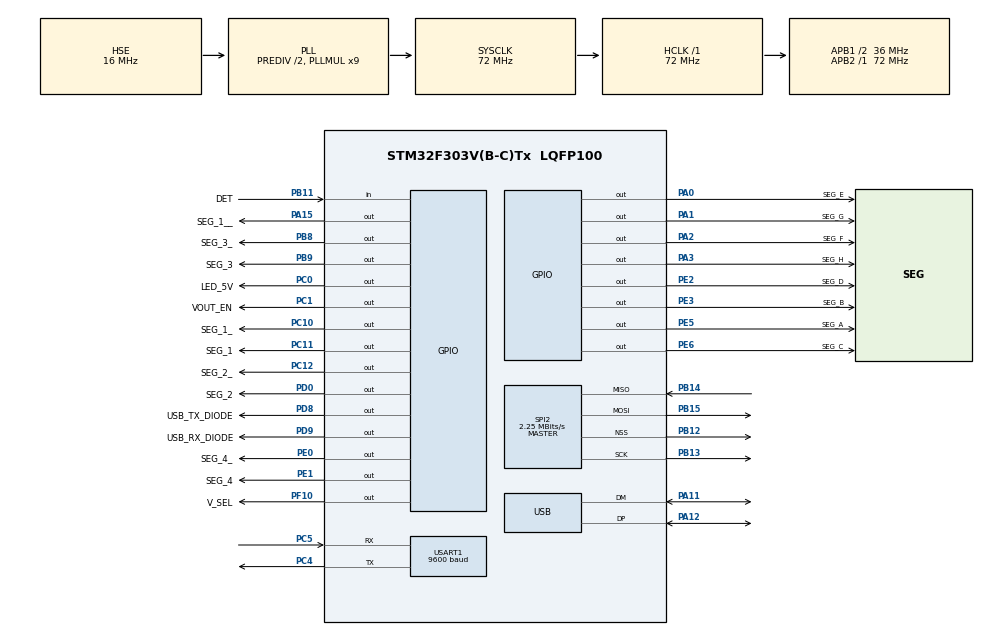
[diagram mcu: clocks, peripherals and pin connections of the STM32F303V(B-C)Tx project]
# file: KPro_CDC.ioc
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Mcu.Family=STM32F3
USB_DEVICE.CLASS_NAME_FS=CDC
SPI2.VirtualNSS=VM_NSSHARD
RCC.CortexFreq_Value=72000000
VP_TIM17_VS_ClockSourceINT.Mode=Enable_Timer
FATFS._USE_LFN=1
NVIC.DMA1_Channel5_IRQn=true\:0\:0\:false\:false\:true\:false\:true
SPI2.VirtualType=VM_MASTER
USART1.BaudRate=9600
PC10.Signal=GPIO_Output
PC12.Signal=GPIO_Output
RCC.SYSCLKSourceVirtual=RCC_SYSCLKSOURCE_PLLCLK
PA0.GPIO_Label=SEG_E
PC0.GPIO_Label=LED_5V
PD0.GPIO_Label=SEG_2
PA11.Mode=Device
PC5.Mode=Asynchronous
PB11.Signal=GPIO_Input
PB13.Signal=SPI2_SCK
PB15.Signal=SPI2_MOSI
PE6.GPIO_Label=SEG_C
ProjectManager.StackSize=0x400
PA15.GPIO_Label=SEG_1__
Dma.USART1_TX.0.Priority=DMA_PRIORITY_LOW
PA12.Signal=USB_DP
Dma.USART1_TX.0.Direction=DMA_MEMORY_TO_PERIPH
RCC.HCLKFreq_Value=72000000
RCC.APB2TimFreq_Value=72000000
PD0.Signal=GPIO_Output
PD8.Signal=GPIO_Output
PE5.Signal=GPIO_Output
PE1.Signal=GPIO_Output
Dma.USART1_RX.1.MemInc=DMA_MINC_ENABLE
PF10.GPIO_Label=V_SEL
RCC.AHBFreq_Value=72000000
SPI2.BaudRatePrescaler=SPI_BAUDRATEPRESCALER_16
RCC.HSE_VALUE=16000000
Dma.USART1_RX.1.PeriphDataAlignment=DMA_PDATAALIGN_BYTE
RCC.RCC_PLLsource_Clock_Source_FROM_HSE=RCC_HSE_PREDIV_DIV2
RCC.PLLMUL=RCC_PLL_MUL9
NVIC.TIM1_TRG_COM_TIM17_IRQn=true\:0\:0\:false\:false\:true\:true\:true
PA14.Mode=Serial_Wire
PB14.Mode=Full_Duplex_Master
PC11.GPIO_Label=SEG_1
SPI2.CalculateBaudRate=2.25 MBits/s
PE2.Signal=GPIO_Output
Dma.USART1_TX.0.PeriphDataAlignment=DMA_PDATAALIGN_BYTE
PA0.Signal=GPIO_Output
Dma.USART1_RX.1.Mode=DMA_NORMAL
Mcu.Package=LQFP100
PB9.Signal=GPIO_Output
PB12.Mode=NSS_Signal_Hard_Output
SPI2.Mode=SPI_MODE_MASTER
PA2.GPIO_Label=SEG_F
PA15.Signal=GPIO_Output
Dma.USART1_TX.0.Instance=DMA1_Channel4
PE0.GPIO_Label=SEG_4_
Dma.USART1_RX.1.PeriphInc=DMA_PINC_DISABLE
Dma.Request1=USART1_RX
RCC.APB1TimFreq_Value=72000000
SPI2.Direction=SPI_DIRECTION_2LINES
PC5.Signal=USART1_RX
PB13.Mode=Full_Duplex_Master
Dma.USART1_RX.1.Priority=DMA_PRIORITY_LOW
NVIC.DMA1_Channel4_IRQn=true\:0\:0\:false\:false\:true\:false\:true
NVIC.USART1_IRQn=true\:0\:0\:false\:false\:true\:true\:true
Dma.Request0=USART1_TX
PE2.GPIO_Label=SEG_D
PC4.Mode=Asynchronous
PA3.Signal=GPIO_Output
Dma.USART1_RX.1.Instance=DMA1_Channel5
Dma.USART1_RX.1.MemDataAlignment=DMA_MDATAALIGN_BYTE
Dma.USART1_TX.0.MemInc=DMA_MINC_ENABLE
PD9.GPIO_Label=USB_RX_DIODE
PB9.GPIO_Label=SEG_3
Dma.USART1_TX.0.PeriphInc=DMA_PINC_DISABLE
PC10.GPIO_Label=SEG_1_
USB_DEVICE.VirtualModeFS=Cdc_FS
PC11.Signal=GPIO_Output
NVIC.USB_LP_CAN_RX0_IRQn=true\:0\:0\:false\:false\:true\:false\:true
PC4.Signal=USART1_TX
PB11.GPIO_Label=DET
PD9.Signal=GPIO_Output
PC0.Signal=GPIO_Output
RCC.APB1CLKDivider=RCC_HCLK_DIV2
PD8.GPIO_Label=USB_TX_DIODE
USART1.VirtualMode-Asynchronous=VM_ASYNC
PA13.Signal=SYS_JTMS-SWDIO
PB8.GPIO_Label=SEG_3_
ProjectManager.TargetToolchain=STM32CubeIDE
VP_USB_DEVICE_VS_USB_DEVICE_CDC_FS.Mode=CDC_FS
RCC.USBFreq_Value=48000000
RCC.LSE_VALUE=32768
PA1.Signal=GPIO_Output
PF0-OSC_IN.Mode=HSE-External-Clock-Source
VP_FATFS_VS_Generic.Mode=User_defined
PB14.Signal=SPI2_MISO
Dma.USART1_TX.0.Mode=DMA_NORMAL
board=custom
PE1.GPIO_Label=SEG_4
PB15.Mode=Full_Duplex_Master
RCC.APB2Freq_Value=72000000
RCC.PRESCALERUSB=RCC_USBCLKSOURCE_PLL_DIV1_5
PF10.Signal=GPIO_Output
PC1.GPIO_Label=VOUT_EN
PA1.GPIO_Label=SEG_G
PE6.Signal=GPIO_Output
PA13.Mode=Serial_Wire
PE0.Signal=GPIO_Output
Mcu.Name=STM32F303V(B-C)Tx
PA2.Signal=GPIO_Output
FATFS._MAX_SS=4096
RCC.SYSCLKFreq_VALUE=72000000
PA12.Mode=Device
PE5.GPIO_Label=SEG_A
PC12.GPIO_Label=SEG_2_
PA11.Signal=USB_DM
Dma.USART1_TX.0.MemDataAlignment=DMA_MDATAALIGN_BYTE
PA14.Signal=SYS_JTCK-SWCLK
ProjectManager.HeapSize=0x200
RCC.HSI_VALUE=8000000
NVIC.PriorityGroup=NVIC_PRIORITYGROUP_4
PE3.Signal=GPIO_Output
PB8.Signal=GPIO_Output
PE3.GPIO_Label=SEG_B
SPI2.DataSize=SPI_DATASIZE_8BIT
Dma.USART1_RX.1.Direction=DMA_PERIPH_TO_MEMORY
PF0-OSC_IN.Signal=RCC_OSC_IN
RCC.APB1Freq_Value=36000000
USB_DEVICE.VirtualMode=Cdc
PC1.Signal=GPIO_Output
PB12.Signal=SPI2_NSS
PA3.GPIO_Label=SEG_H

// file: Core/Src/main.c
/* USER CODE BEGIN Header */
/**
  ******************************************************************************
  * @file           : main.c
  * @brief          : Main program body
  ******************************************************************************
  * @attention
  *
  * <h2><center>&copy; Copyright (c) 2021 STMicroelectronics.
  * All rights reserved.</center></h2>
  *
  * This software component is licensed by ST under Ultimate Liberty license
  * SLA0044, the "License"; You may not use this file except in compliance with
  * the License. You may obtain a copy of the License at:
  *                             www.st.com/SLA0044
  *
  ******************************************************************************
  */
/* USER CODE END Header */
#include "main.h"
#include "fatfs.h"
#include "usb_device.h"

/* USER CODE BEGIN Includes */
#include "uart.h"
#include "clock.h"
#include "gpio.h"
#include "dma.h"
#include "tim.h"
//#include "stm32f3xx_it.h"
//#include "UART_DMA.h"
/* USER CODE END Includes */

/* USER CODE BEGIN PTD */
#define SEG_A	1
#define SEG_B	2
#define SEG_C	4
#define SEG_D	8
#define SEG_E	16
#define SEG_F	32
#define SEG_G	64
#define SEG_H	128
/* USER CODE END PTD */

SPI_HandleTypeDef hspi2;

TIM_HandleTypeDef htim17;

UART_HandleTypeDef huart1;
DMA_HandleTypeDef hdma_usart1_tx;
DMA_HandleTypeDef hdma_usart1_rx;

/* USER CODE BEGIN PV */
char UART_Received[1];
uint8_t UART_RecFlag = 0;
char msg[3] = {'X','D','D'};

void my_USART1_IRQHandler(){
	//uint32_t isr = USART1->ISR;
	//uint32_t cr1 = USART1->CR1;
	if (USART1->ISR & USART_ISR_RXNE_Msk){
		UART_RecFlag = 1;
		UART_Received[0] = USART1->RDR;
		NVIC_ClearPendingIRQ(USART1_IRQn);
	}
	NVIC_ClearPendingIRQ(USART1_IRQn);
}

void my_DMA1_Channel4_IRQHandler(){
	if (DMA1->ISR & DMA_ISR_TCIF4){
		DMA1->IFCR |= (DMA_IFCR_CTCIF4);
	}
	// Disable DMA channel
	DMA1_Channel4->CCR &= ~(DMA_CCR_EN);
	NVIC_ClearPendingIRQ(DMA1_Channel4_IRQn);
}

uint8_t SegSel = 0;
uint8_t Seg[4] = {0,0,0,0};
void my_TIM1_TRG_COM_TIM17_IRQHandler(){
	if (TIM17->SR & TIM_SR_UIF){
		TIM17->SR &= ~(TIM_SR_UIF);
		//HAL_GPIO_TogglePin(LED_5V_GPIO_Port, LED_5V_Pin);
		DispNum(Seg[SegSel],SegSel);
		++SegSel;
		if(SegSel > 3) SegSel = 0;
	}
	NVIC_ClearPendingIRQ(TIM17_IRQn);
}

void DispVal(uint32_t val){
	if (val < 10000){
		Seg[3] = val % 10;
		val = val / 10;
		Seg[2] = val % 10;
		val = val / 10;
		Seg[1] = val % 10;
		val = val / 10;
		Seg[0] = val % 10 + 10;
	} else if (val < 100000){
		val = val / 10;
		Seg[3] = val % 10;
		val = val / 10;
		Seg[2] = val % 10;
		val = val / 10;
		Seg[1] = val % 10 + 10;
		val = val / 10;
		Seg[0] = val % 10;
	} else if (val < 1000000){
		val = val / 100;
		Seg[3] = val % 10;
		val = val / 10;
		Seg[2] = val % 10 + 10;
		val = val / 10;
		Seg[1] = val % 10;
		val = val / 10;
		Seg[0] = val % 10;
	} else if (val < 10000000){
		val = val / 1000;
		Seg[3] = val % 10 + 10;
		val = val / 10;
		Seg[2] = val % 10;
		val = val / 10;
		Seg[1] = val % 10;
		val = val / 10;
		Seg[0] = val % 10;
	}
}

void DispNum(uint8_t num, uint8_t disp){
	uint8_t IsDot = 0;
	HAL_GPIO_WritePin(SEG_1_GPIO_Port, SEG_1_Pin, 0);
	HAL_GPIO_WritePin(SEG_1__GPIO_Port, SEG_1__Pin, 0);
	HAL_GPIO_WritePin(SEG_1__GPIO_Port, SEG_1___Pin, 0);

	HAL_GPIO_WritePin(SEG_2_GPIO_Port, SEG_2_Pin, 0);
	HAL_GPIO_WritePin(SEG_2__GPIO_Port, SEG_2__Pin, 0);

	HAL_GPIO_WritePin(SEG_3_GPIO_Port, SEG_3_Pin, 0);
	HAL_GPIO_WritePin(SEG_3__GPIO_Port, SEG_3__Pin, 0);

	HAL_GPIO_WritePin(SEG_4_GPIO_Port, SEG_4_Pin, 0);
	HAL_GPIO_WritePin(SEG_4__GPIO_Port, SEG_4__Pin, 0);

	if(num > 9){
		num -= 10;
		IsDot = 1;
	}

	switch(disp){
	case 0:{
		HAL_GPIO_WritePin(SEG_1_GPIO_Port, SEG_1_Pin, 1);
		HAL_GPIO_WritePin(SEG_1__GPIO_Port, SEG_1__Pin, 1);
		HAL_GPIO_WritePin(SEG_1___GPIO_Port, SEG_1___Pin, 1);
		break;
	}
	case 1:{
		HAL_GPIO_WritePin(SEG_2_GPIO_Port, SEG_2_Pin, 1);
		HAL_GPIO_WritePin(SEG_2__GPIO_Port, SEG_2__Pin, 1);
		break;
	}
	case 2:{
		HAL_GPIO_WritePin(SEG_3_GPIO_Port, SEG_3_Pin, 1);
		HAL_GPIO_WritePin(SEG_3__GPIO_Port, SEG_3__Pin, 1);
		break;
	}
	case 3:{
		HAL_GPIO_WritePin(SEG_4_GPIO_Port, SEG_4_Pin, 1);
		HAL_GPIO_WritePin(SEG_4__GPIO_Port, SEG_4__Pin, 1);
		break;
	}
	}

	switch(num){
	case 0:{
		SetDisp((uint8_t)SEG_D | SEG_E);
		break;
	}
	case 1:{
		SetDisp((uint8_t)SEG_A | SEG_B | SEG_D | SEG_H | SEG_F | SEG_E);
		break;
	}
	case 2:{
		SetDisp((uint8_t)SEG_B | SEG_E | SEG_G);
		break;
	}
	case 3:{
		SetDisp((uint8_t)SEG_B | SEG_H | SEG_E);
		break;
	}
	case 4:{
		SetDisp((uint8_t)SEG_A | SEG_H | SEG_F | SEG_E);
		break;
	}
	case 5:{
		SetDisp((uint8_t)SEG_C | SEG_H | SEG_E);
		break;
	}
	case 6:{
		SetDisp((uint8_t)SEG_C | SEG_E);
		break;
	}
	case 7:{
		SetDisp((uint8_t)SEG_B | SEG_D | SEG_H | SEG_F | SEG_E);
		break;
	}
	case 8:{
		SetDisp((uint8_t) SEG_E);
		break;
	}
	case 9:{
		SetDisp((uint8_t)SEG_H | SEG_E);
		break;
	}
	case 10:{
		SetDisp((uint8_t)0);
		break;
	}
	}
	if(IsDot) HAL_GPIO_WritePin(SEG_E_GPIO_Port, SEG_E_Pin, 0);
}

void SetDisp(uint8_t seg){
	HAL_GPIO_WritePin(SEG_A_GPIO_Port, SEG_A_Pin, (seg & (1 << 0)));
	HAL_GPIO_WritePin(SEG_B_GPIO_Port, SEG_B_Pin, (seg & (1 << 1)));
	HAL_GPIO_WritePin(SEG_C_GPIO_Port, SEG_C_Pin, (seg & (1 << 2)));
	HAL_GPIO_WritePin(SEG_D_GPIO_Port, SEG_D_Pin, (seg & (1 << 3)));
	HAL_GPIO_WritePin(SEG_E_GPIO_Port, SEG_E_Pin, (seg & (1 << 4)));
	HAL_GPIO_WritePin(SEG_F_GPIO_Port, SEG_F_Pin, (seg & (1 << 5)));
	HAL_GPIO_WritePin(SEG_G_GPIO_Port, SEG_G_Pin, (seg & (1 << 6)));
	HAL_GPIO_WritePin(SEG_H_GPIO_Port, SEG_H_Pin, (seg & (1 << 7)));
}
//UARTDMA_HandleTypeDef huartdma;
char ParseBuffer[8];
/* USER CODE END PV */

void SystemClock_Config(void);
static void MX_GPIO_Init(void);
static void MX_DMA_Init(void);
static void MX_SPI2_Init(void);
static void MX_USART1_UART_Init(void);
static void MX_TIM17_Init(void);

int main(void)
{

  /* MCU Configuration--------------------------------------------------------*/

  /* Reset of all peripherals, Initializes the Flash interface and the Systick. */
  HAL_Init();

  /* USER CODE BEGIN Init */

  	// CONFIGURE CLOCK
	FLASH_ACR_clock_init();
	RCC_HSE_enable();
	RCC_CFGR_pll_init();
	RCC_APB1ENR_enable();
	RCC_APB1ENR_usb_clock_enable();

	// HALL INITALIZERS
		MX_GPIO_Init();
		MX_USB_DEVICE_Init();

	// USART INITALIZATION
	RCC_APB2ENR_usart_clock_enable();
	RCC_AHBENR_port_enable('C');
	GPIOC_MODER_pc4_pc5_uart_init();
	USART1_CR1_disable_parity();
	USART1_CR1_world_8b();
	USART1_CR1_oversampling_16();
	USART1_BBR_set_baundrate(72000000, 9600);
	USART1_CR2_stop_1bit();
	USART1_CR1_enable_RXNEIE();
	USART1_CR1_enable_receiver();
	USART1_CR3_enable_dma();
	USART1_CR1_enable_transmitter();
	USART1_CR1_enable();
	USART1_ICR_clear_tansfer_completec_flag();

	// DMA FOR USART INITRALIZATION
	RCC_AHBENR_dma_clock_enable();
	DMA1_Channel4_CCR_uart_init();
	DMA1_Channel4_CPAR_set_tdr_buffer();

	NVIC_SetPriority(USART1_IRQn, 6);
	NVIC_EnableIRQ(USART1_IRQn);

	NVIC_SetPriority(DMA1_Channel4_IRQn, 0);
	NVIC_EnableIRQ(DMA1_Channel4_IRQn);

	// TIMER 17 INITALIZATION
	RCC_APB2ENR_tim17_clock_enable();
	NVIC_SetPriority(TIM17_IRQn, 3);
	NVIC_EnableIRQ(TIM17_IRQn);
	TIM17_CR1_reset_timer17();
	TIM17_PSC_set_presc_period(72000 - 1, 20 -1);
	TIM17_DIER_enable_update_interrupt();
	TIM17_CR1_enable();

	HAL_GPIO_WritePin(VOUT_EN_GPIO_Port, VOUT_EN_Pin, 0);
	HAL_GPIO_WritePin(V_SEL_GPIO_Port, V_SEL_Pin, 1);
	HAL_GPIO_WritePin(LED_5V_GPIO_Port, LED_5V_Pin, 0);

	while(1){
		if (UART_RecFlag){
			// After reciving data from UART send it throught USB
			UART_RecFlag = 0;
			CDC_Transmit_FS(&UART_Received, 1);
		}
	}

  /* USER CODE END Init */

  /* Configure the system clock */
  SystemClock_Config();

  /* Initialize all configured peripherals */
  MX_GPIO_Init();
  MX_DMA_Init();
  MX_SPI2_Init();
  MX_USART1_UART_Init();
  MX_USB_DEVICE_Init();
  MX_FATFS_Init();
  MX_TIM17_Init();

  /* Infinite loop */
  while (1)
  {

  }
}

void SystemClock_Config(void)
{
  RCC_OscInitTypeDef RCC_OscInitStruct = {0};
  RCC_ClkInitTypeDef RCC_ClkInitStruct = {0};
  RCC_PeriphCLKInitTypeDef PeriphClkInit = {0};

  /** Initializes the RCC Oscillators according to the specified parameters
  * in the RCC_OscInitTypeDef structure.
  */
  RCC_OscInitStruct.OscillatorType = RCC_OSCILLATORTYPE_HSE;
  RCC_OscInitStruct.HSEState = RCC_HSE_BYPASS;
  RCC_OscInitStruct.HSEPredivValue = RCC_HSE_PREDIV_DIV2;
  RCC_OscInitStruct.HSIState = RCC_HSI_ON;
  RCC_OscInitStruct.PLL.PLLState = RCC_PLL_ON;
  RCC_OscInitStruct.PLL.PLLSource = RCC_PLLSOURCE_HSE;
  RCC_OscInitStruct.PLL.PLLMUL = RCC_PLL_MUL9;
  if (HAL_RCC_OscConfig(&RCC_OscInitStruct) != HAL_OK)
  {
    Error_Handler();
  }
  /** Initializes the CPU, AHB and APB buses clocks
  */
  RCC_ClkInitStruct.ClockType = RCC_CLOCKTYPE_HCLK|RCC_CLOCKTYPE_SYSCLK
                              |RCC_CLOCKTYPE_PCLK1|RCC_CLOCKTYPE_PCLK2;
  RCC_ClkInitStruct.SYSCLKSource = RCC_SYSCLKSOURCE_PLLCLK;
  RCC_ClkInitStruct.AHBCLKDivider = RCC_SYSCLK_DIV1;
  RCC_ClkInitStruct.APB1CLKDivider = RCC_HCLK_DIV2;
  RCC_ClkInitStruct.APB2CLKDivider = RCC_HCLK_DIV1;

  if (HAL_RCC_ClockConfig(&RCC_ClkInitStruct, FLASH_LATENCY_2) != HAL_OK)
  {
    Error_Handler();
  }
  PeriphClkInit.PeriphClockSelection = RCC_PERIPHCLK_USB|RCC_PERIPHCLK_USART1;
  PeriphClkInit.Usart1ClockSelection = RCC_USART1CLKSOURCE_PCLK2;
  PeriphClkInit.USBClockSelection = RCC_USBCLKSOURCE_PLL_DIV1_5;
  if (HAL_RCCEx_PeriphCLKConfig(&PeriphClkInit) != HAL_OK)
  {
    Error_Handler();
  }
}

static void MX_SPI2_Init(void)
{

  /* SPI2 parameter configuration*/
  hspi2.Instance = SPI2;
  hspi2.Init.Mode = SPI_MODE_MASTER;
  hspi2.Init.Direction = SPI_DIRECTION_2LINES;
  hspi2.Init.DataSize = SPI_DATASIZE_8BIT;
  hspi2.Init.CLKPolarity = SPI_POLARITY_LOW;
  hspi2.Init.CLKPhase = SPI_PHASE_1EDGE;
  hspi2.Init.NSS = SPI_NSS_HARD_OUTPUT;
  hspi2.Init.BaudRatePrescaler = SPI_BAUDRATEPRESCALER_16;
  hspi2.Init.FirstBit = SPI_FIRSTBIT_MSB;
  hspi2.Init.TIMode = SPI_TIMODE_DISABLE;
  hspi2.Init.CRCCalculation = SPI_CRCCALCULATION_DISABLE;
  hspi2.Init.CRCPolynomial = 7;
  hspi2.Init.CRCLength = SPI_CRC_LENGTH_DATASIZE;
  hspi2.Init.NSSPMode = SPI_NSS_PULSE_ENABLE;
  if (HAL_SPI_Init(&hspi2) != HAL_OK)
  {
    Error_Handler();
  }

}

static void MX_TIM17_Init(void)
{

  htim17.Instance = TIM17;
  htim17.Init.Prescaler = 0;
  htim17.Init.CounterMode = TIM_COUNTERMODE_UP;
  htim17.Init.Period = 65535;
  htim17.Init.ClockDivision = TIM_CLOCKDIVISION_DIV1;
  htim17.Init.RepetitionCounter = 0;
  htim17.Init.AutoReloadPreload = TIM_AUTORELOAD_PRELOAD_DISABLE;
  if (HAL_TIM_Base_Init(&htim17) != HAL_OK)
  {
    Error_Handler();
  }

}

static void MX_USART1_UART_Init(void)
{

  huart1.Instance = USART1;
  huart1.Init.BaudRate = 9600;
  huart1.Init.WordLength = UART_WORDLENGTH_8B;
  huart1.Init.StopBits = UART_STOPBITS_1;
  huart1.Init.Parity = UART_PARITY_NONE;
  huart1.Init.Mode = UART_MODE_TX_RX;
  huart1.Init.HwFlowCtl = UART_HWCONTROL_NONE;
  huart1.Init.OverSampling = UART_OVERSAMPLING_16;
  huart1.Init.OneBitSampling = UART_ONE_BIT_SAMPLE_DISABLE;
  huart1.AdvancedInit.AdvFeatureInit = UART_ADVFEATURE_NO_INIT;
  if (HAL_UART_Init(&huart1) != HAL_OK)
  {
    Error_Handler();
  }

}

static void MX_DMA_Init(void)
{

  /* DMA controller clock enable */
  __HAL_RCC_DMA1_CLK_ENABLE();

  /* DMA interrupt init */
  /* DMA1_Channel4_IRQn interrupt configuration */
  HAL_NVIC_SetPriority(DMA1_Channel4_IRQn, 0, 0);
  HAL_NVIC_EnableIRQ(DMA1_Channel4_IRQn);
  /* DMA1_Channel5_IRQn interrupt configuration */
  HAL_NVIC_SetPriority(DMA1_Channel5_IRQn, 0, 0);
  HAL_NVIC_EnableIRQ(DMA1_Channel5_IRQn);

}

static void MX_GPIO_Init(void)
{
  GPIO_InitTypeDef GPIO_InitStruct = {0};

  /* GPIO Ports Clock Enable */
  __HAL_RCC_GPIOE_CLK_ENABLE();
  __HAL_RCC_GPIOF_CLK_ENABLE();
  __HAL_RCC_GPIOC_CLK_ENABLE();
  __HAL_RCC_GPIOA_CLK_ENABLE();
  __HAL_RCC_GPIOB_CLK_ENABLE();
  __HAL_RCC_GPIOD_CLK_ENABLE();

  /*Configure GPIO pin Output Level */
  HAL_GPIO_WritePin(GPIOE, SEG_D_Pin|SEG_B_Pin|SEG_A_Pin|SEG_C_Pin
                          |SEG_4__Pin|SEG_4_Pin, GPIO_PIN_RESET);

  /*Configure GPIO pin Output Level */
  HAL_GPIO_WritePin(V_SEL_GPIO_Port, V_SEL_Pin, GPIO_PIN_RESET);

  /*Configure GPIO pin Output Level */
  HAL_GPIO_WritePin(GPIOC, LED_5V_Pin|VOUT_EN_Pin|SEG_1__Pin|SEG_1_Pin
                          |SEG_2__Pin, GPIO_PIN_RESET);

  /*Configure GPIO pin Output Level */
  HAL_GPIO_WritePin(GPIOA, SEG_E_Pin|SEG_G_Pin|SEG_F_Pin|SEG_H_Pin
                          |SEG_1___Pin, GPIO_PIN_RESET);

  /*Configure GPIO pin Output Level */
  HAL_GPIO_WritePin(GPIOD, USB_TX_DIODE_Pin|USB_RX_DIODE_Pin|SEG_2_Pin, GPIO_PIN_RESET);

  /*Configure GPIO pin Output Level */
  HAL_GPIO_WritePin(GPIOB, SEG_3__Pin|SEG_3_Pin, GPIO_PIN_RESET);

  /*Configure GPIO pins : SEG_D_Pin SEG_B_Pin SEG_A_Pin SEG_C_Pin
                           SEG_4__Pin SEG_4_Pin */
  GPIO_InitStruct.Pin = SEG_D_Pin|SEG_B_Pin|SEG_A_Pin|SEG_C_Pin
                          |SEG_4__Pin|SEG_4_Pin;
  GPIO_InitStruct.Mode = GPIO_MODE_OUTPUT_PP;
  GPIO_InitStruct.Pull = GPIO_NOPULL;
  GPIO_InitStruct.Speed = GPIO_SPEED_FREQ_LOW;
  HAL_GPIO_Init(GPIOE, &GPIO_InitStruct);

  /*Configure GPIO pin : V_SEL_Pin */
  GPIO_InitStruct.Pin = V_SEL_Pin;
  GPIO_InitStruct.Mode = GPIO_MODE_OUTPUT_PP;
  GPIO_InitStruct.Pull = GPIO_NOPULL;
  GPIO_InitStruct.Speed = GPIO_SPEED_FREQ_LOW;
  HAL_GPIO_Init(V_SEL_GPIO_Port, &GPIO_InitStruct);

  /*Configure GPIO pins : LED_5V_Pin VOUT_EN_Pin SEG_1__Pin SEG_1_Pin
                           SEG_2__Pin */
  GPIO_InitStruct.Pin = LED_5V_Pin|VOUT_EN_Pin|SEG_1__Pin|SEG_1_Pin
                          |SEG_2__Pin;
  GPIO_InitStruct.Mode = GPIO_MODE_OUTPUT_PP;
  GPIO_InitStruct.Pull = GPIO_NOPULL;
  GPIO_InitStruct.Speed = GPIO_SPEED_FREQ_LOW;
  HAL_GPIO_Init(GPIOC, &GPIO_InitStruct);

  /*Configure GPIO pins : SEG_E_Pin SEG_G_Pin SEG_F_Pin SEG_H_Pin
                           SEG_1___Pin */
  GPIO_InitStruct.Pin = SEG_E_Pin|SEG_G_Pin|SEG_F_Pin|SEG_H_Pin
                          |SEG_1___Pin;
  GPIO_InitStruct.Mode = GPIO_MODE_OUTPUT_PP;
  GPIO_InitStruct.Pull = GPIO_NOPULL;
  GPIO_InitStruct.Speed = GPIO_SPEED_FREQ_LOW;
  HAL_GPIO_Init(GPIOA, &GPIO_InitStruct);

  /*Configure GPIO pin : DET_Pin */
  GPIO_InitStruct.Pin = DET_Pin;
  GPIO_InitStruct.Mode = GPIO_MODE_INPUT;
  GPIO_InitStruct.Pull = GPIO_NOPULL;
  HAL_GPIO_Init(DET_GPIO_Port, &GPIO_InitStruct);

  /*Configure GPIO pins : USB_TX_DIODE_Pin USB_RX_DIODE_Pin SEG_2_Pin */
  GPIO_InitStruct.Pin = USB_TX_DIODE_Pin|USB_RX_DIODE_Pin|SEG_2_Pin;
  GPIO_InitStruct.Mode = GPIO_MODE_OUTPUT_PP;
  GPIO_InitStruct.Pull = GPIO_NOPULL;
  GPIO_InitStruct.Speed = GPIO_SPEED_FREQ_LOW;
  HAL_GPIO_Init(GPIOD, &GPIO_InitStruct);

  /*Configure GPIO pins : SEG_3__Pin SEG_3_Pin */
  GPIO_InitStruct.Pin = SEG_3__Pin|SEG_3_Pin;
  GPIO_InitStruct.Mode = GPIO_MODE_OUTPUT_PP;
  GPIO_InitStruct.Pull = GPIO_NOPULL;
  GPIO_InitStruct.Speed = GPIO_SPEED_FREQ_LOW;
  HAL_GPIO_Init(GPIOB, &GPIO_InitStruct);

}

void Error_Handler(void)
{
}

/************************ (C) COPYRIGHT STMicroelectronics *****END OF FILE****/
